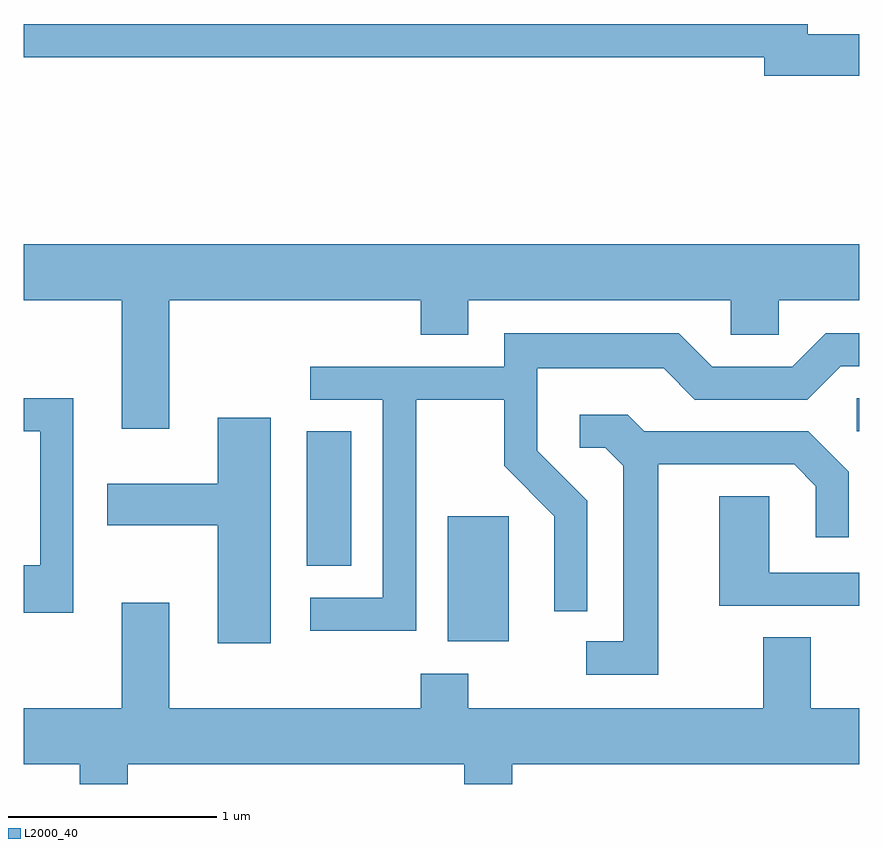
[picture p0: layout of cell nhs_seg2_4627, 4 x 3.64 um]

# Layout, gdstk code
import gdstk
lib = gdstk.Library(unit=1e-6, precision=1e-09)
def R(c, l, rs):  # rectangles x0, y0, x1, y1
    for r in rs: c.add(gdstk.rectangle(r[:2], r[2:], *l))
def P(c, l, *ps):  # polygons
    for p in ps: c.add(gdstk.Polygon(p, *l))
L2000_40 = (2000, 40)

nhs_seg2_4627 = lib.new_cell('nhs_seg2_4627')
R(nhs_seg2_4627, L2000_40, [(323.641,1024.486,323.934,1025.084), (322.966,1024.846,323.179,1025.489), (325.598,1025.491,325.611,1025.649)])
P(nhs_seg2_4627, L2000_40, [(325.611,1027.389),(325.364,1027.389),(325.364,1027.439),(321.611,1027.439),(321.611,1027.281),(325.156,1027.281),(325.156,1027.191),(325.611,1027.191)],
  [(322.309,1026.116),(323.511,1026.116),(323.511,1025.951),(323.739,1025.951),(323.739,1026.116),(324.996,1026.116),(324.996,1025.951),(325.224,1025.951),(325.224,1026.116),(325.611,1026.116),(325.611,1026.384),(321.611,1026.384),(321.611,1026.116),(322.081,1026.116),(322.081,1025.501),(322.309,1025.501)],
  [(323.489,1025.641),(323.911,1025.641),(323.911,1025.324),(324.151,1025.084),(324.151,1024.628),(324.309,1024.628),(324.309,1025.157),(324.069,1025.397),(324.069,1025.791),(324.674,1025.791),(324.824,1025.641),(325.362,1025.641),(325.522,1025.801),(325.611,1025.801),(325.611,1025.959),(325.449,1025.959),(325.289,1025.799),(324.907,1025.799),(324.747,1025.959),(323.911,1025.959),(323.911,1025.799),(322.983,1025.799),(322.983,1025.641),(323.331,1025.641),(323.331,1024.694),(322.983,1024.694),(322.983,1024.536),(323.489,1024.536)],
  [(321.849,1025.649),(321.613,1025.649),(321.613,1025.491),(321.691,1025.491),(321.691,1024.849),(321.611,1024.849),(321.611,1024.621),(321.849,1024.621)],
  [(324.649,1025.331),(325.299,1025.331),(325.401,1025.228),(325.401,1024.983),(325.559,1024.983),(325.559,1025.296),(325.367,1025.489),(324.582,1025.489),(324.502,1025.569),(324.273,1025.569),(324.273,1025.411),(324.394,1025.411),(324.481,1025.324),(324.481,1024.484),(324.303,1024.484),(324.303,1024.326),(324.649,1024.326)],
  [(322.794,1025.554),(322.541,1025.554),(322.541,1025.239),(322.011,1025.239),(322.011,1025.041),(322.541,1025.041),(322.541,1024.476),(322.794,1024.476)],
  [(325.611,1024.814),(325.179,1024.814),(325.179,1025.179),(324.941,1025.179),(324.941,1024.656),(325.611,1024.656)],
  [(322.081,1024.164),(321.611,1024.164),(321.611,1023.896),(321.881,1023.896),(321.881,1023.802),(322.109,1023.802),(322.109,1023.896),(323.721,1023.896),(323.721,1023.802),(323.949,1023.802),(323.949,1023.896),(325.611,1023.896),(325.611,1024.164),(325.379,1024.164),(325.379,1024.504),(325.151,1024.504),(325.151,1024.164),(323.739,1024.164),(323.739,1024.329),(323.511,1024.329),(323.511,1024.164),(322.309,1024.164),(322.309,1024.669),(322.081,1024.669)])

lib.write_gds('nhs_seg2_4627.gds')
